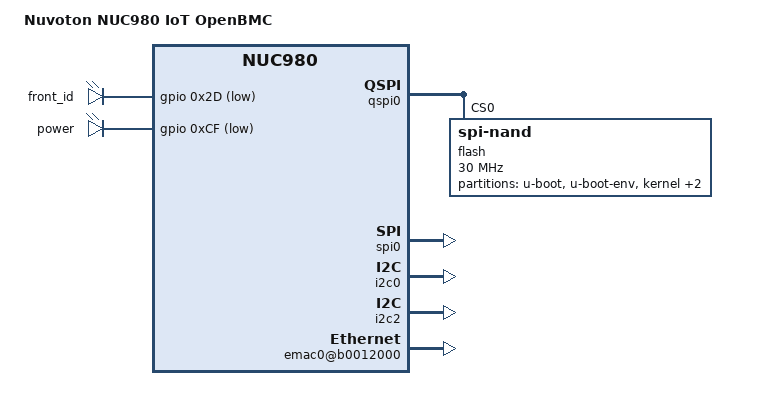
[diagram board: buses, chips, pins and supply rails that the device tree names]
// SPDX-License-Identifier: GPL-2.0
/*
 * Device Tree Source for NUC980 IoT Board — OpenBMC configuration
 *
 * Based on nuc980-iot-g2-v1.0.dts with BMC-specific customisations:
 *   - SPI-NAND partitions sized for OpenBMC (u-boot/env/kernel/rofs/rwfs)
 *   - GPIO LEDs on PB13 (front_id) and PG15 (power)
 *   - Pinctrl: PD12/PD13/PF9/PF10 set to GPIO mode for x86-power-control
 *   - UART1 reduced to TX/RX only (frees PF9/PF10)
 *   - UART4 removed from PD pins (frees PD12/PD13)
 *   - gpio-line-names for libgpiod (POWER_OUT, RESET_OUT, PS_PWROK, POST_COMPLETE)
 *   - 128MB RAM
 *
 * Copyright (C) 2024 Nuvoton Technology Corp.
 */
/dts-v1/;
#include <dt-bindings/gpio/gpio.h>
#include "nuc980.dtsi"

/ {
	model = "Nuvoton NUC980 IoT OpenBMC";
	compatible = "nuvoton,nuc980-dev-v1.0", "nuvoton,nuc980";

	chosen {
		bootargs = "root=/dev/ram0 console=ttyS0,115200n8 rdinit=/sbin/init mem=128M lpj=744448";
	};

	leds {
		compatible = "gpio-leds";

		front_id {
			label = "front_id";
			gpios = <&gpio 0x2D GPIO_ACTIVE_LOW>; /* PB13 = 1*32+13 = 0x2D */
			default-state = "off";
		};

		power {
			label = "power";
			gpios = <&gpio 0xCF GPIO_ACTIVE_LOW>; /* PG15 = 6*32+15 = 0xCF */
			default-state = "on";
		};
	};

	apb {
		/* UART1: disabled to free PF7-PF10 */
		uart1: serial@b0071000 {
			pinctrl-0 = <>;
			status = "disabled";
		};

		uart2: serial@b0072000 {
			status = "disabled";
		};

		uart3: serial@b0073000 {
			status = "disabled";
		};

		/* UART4: disable and remove PD pinctrl (frees PD12/PD13) */
		uart4: serial@b0074000 {
			pinctrl-names = "default";
			pinctrl-0 = <>;
			status = "disabled";
		};

		uart5: serial@b0075000 {
			status = "disabled";
		};

		uart6: serial@b0076000 {
			status = "disabled";
		};

		uart7: serial@b0077000 {
			status = "disabled";
		};

		uart8: serial@b0078000 {
			status = "disabled";
		};

		uart9: serial@b0079000 {
			status = "disabled";
		};

		can0: can@b00a0000 {
			status = "disabled";
		};

		can1: can@b00a1000 {
			status = "disabled";
		};

		can2: can@b00a2000 {
			status = "disabled";
		};

		can3: can@b00a3000 {
			status = "disabled";
		};

		rtc: rtc@b0041000 {
			status = "disabled";
		};

		nadc: nadc@b0043000 {
			status = "disabled";
		};

		pwm0: pwm@b0058000 {
			status = "disabled";
		};

		pwm1: pwm@b0059000 {
			status = "disabled";
		};

		pinctrl: pinctrl@b0000000 {
			/* QSPI0 quad-mode pins (PD2-PD7) */
			qspi0 {
				pinctrl_qspi0_quad: qspi0_quad {
					nuvoton,pins =
						<3 0x2 0x1 0
						 3 0x3 0x1 0
						 3 0x4 0x1 0
						 3 0x5 0x1 0
						 3 0x6 0x1 0
						 3 0x7 0x1 0
						>;
				};
			};
		};

		qspi0: spi@b0060000 {
			status = "okay";
			#address-cells = <1>;
			#size-cells = <0>;
			pinctrl-names = "default";
			pinctrl-0 = <&pinctrl_qspi0_quad>;
			num_cs  = <2>;
			lsb     = <0>;
			txneg   = <1>;
			rxneg   = <0>;
			clkpol  = <0>;
			divider = <4>;
			sleep   = <0>;
			txnum   = <0>;
			txbitlen = <8>;
			bus_num = <0>;

			flash: flash@0 {
				compatible = "spi-nand";
				#address-cells = <1>;
				#size-cells = <1>;
				reg = <0>;
				spi-max-frequency = <30000000>;
				spi-rx-bus-width = <4>;
				spi-tx-bus-width = <1>;

				/* OpenBMC partition layout for 128MB SPI-NAND */
				partition@0 {
					label = "u-boot";
					reg = <0x00000000 0x00100000>; /* 1MB: SPL + env */
				};
				partition@1 {
					label = "u-boot-env";
					reg = <0x00100000 0x00080000>; /* 512KB: U-Boot proper */
				};
				partition@2 {
					label = "kernel";
					reg = <0x00180000 0x00680000>; /* ~6.5MB */
				};
				partition@3 {
					label = "rofs";
					reg = <0x00800000 0x03000000>; /* 48MB */
				};
				partition@4 {
					label = "rwfs";
					reg = <0x03800000 0x04800000>; /* 72MB */
				};
			};
		};

		spi0: spi@b0061000 {
			status = "okay";
			#address-cells = <1>;
			#size-cells = <0>;
			num_cs  = <2>;
			lsb     = <0>;
			txneg   = <1>;
			rxneg   = <0>;
			clkpol  = <0>;
			divider = <4>;
			sleep   = <0>;
			txnum   = <0>;
			txbitlen = <8>;
			bus_num = <1>;
		};

		spi1: spi@b0062000 {
			status = "disabled";
		};

		etimer0: etimer0@b0050000 {
			status = "disabled";
		};

		etimer1: etimer1@b0050100 {
			status = "disabled";
		};

		etimer2: etimer2@b0051000 {
			status = "disabled";
		};

		etimer3: etimer3@b0051100 {
			status = "disabled";
		};

		i2c0: i2c0@b0080000 {
			status = "okay";
		};

		i2c1: i2c1@b0081000 {
			status = "disabled";
			pinctrl-0 = <&pinctrl_i2c1_PB>;
		};

		i2c2: i2c2@b0082000 {
			status = "okay";
			pinctrl-0 = <&pinctrl_i2c2_PB>;
		};

		i2c3: i2c3@b0083000 {
			status = "disabled";
		};
	};

	ahb {
		usbh_ehci@b0015000 {
			status = "disabled";
		};

		usbh_ohci@b0017000 {
			status = "disabled";
		};

		usbdev@b0016000 {
			status = "disabled";
		};

		fmi@b0019000 {
			status = "disabled";
		};

		sdh@b0018000 {
			status = "disabled";
		};

		emac0@b0012000 {
			status = "okay";
		};

		emac1@b0022000 {
			status = "disabled";
		};

		cap0@b0024000 {
			status = "disabled";
		};

		cap1@b0014000 {
			status = "disabled";
		};

		dma@b0008000 {
			status = "okay";
		};

		i2s: i2s@b0020000 {
			status = "disabled";
		};

		ebi: ebi@b0010000 {
			status = "disabled";
		};
	};
};

/*
 * Override nodes defined in nuc980.dtsi using label references.
 * This avoids patching the dtsi directly.
 */

/* Set PD12/PD13/PF9/PF10/PB13/PG15 to GPIO mode (func=0) */
&pinctrl_gpio {
	nuvoton,pins =
		<3 12 0 0	/* PD12 → GPIO (POWER_OUT)      */
		 3 13 0 0	/* PD13 → GPIO (RESET_OUT)      */
		 5  9 0 0	/* PF9  → GPIO (PS_PWROK)       */
		 5 10 0 0	/* PF10 → GPIO (POST_COMPLETE)  */
		 1 13 0 0	/* PB13 → GPIO (front_id LED)   */
		 6 15 0 0	/* PG15 → GPIO (power LED)      */
		>;
};

/* Add gpio-line-names so libgpiod/x86-power-control can find pins by name */
&gpio {
	gpio-line-names =
		/* PA0-PA15, padding to 32 */
		"","","","","","","","","","","","","","","","",
		"","","","","","","","","","","","","","","","",
		/* PB0-PB15, padding to 32 */
		"","","","","","","","","","","","","","","","",
		"","","","","","","","","","","","","","","","",
		/* PC0-PC15, padding to 32 */
		"","","","","","","","","","","","","","","","",
		"","","","","","","","","","","","","","","","",
		/* PD0-PD11 */
		"","","","","","","","","","","","",
		/* PD12-PD13: x86-power-control */
		"POWER_OUT","RESET_OUT",
		/* PD14-PD15, padding to 32 */
		"","","","","","","","","","","","","","","","","","",
		/* PE0-PE15, padding to 32 */
		"","","","","","","","","","","","","","","","",
		"","","","","","","","","","","","","","","","",
		/* PF0-PF8 */
		"","","","","","","","","",
		/* PF9-PF10: x86-power-control */
		"PS_PWROK","POST_COMPLETE";
};
